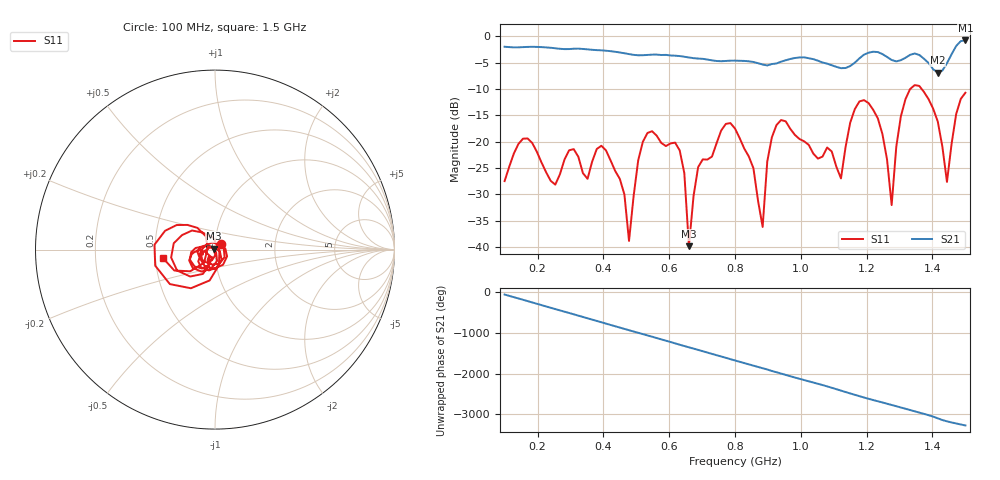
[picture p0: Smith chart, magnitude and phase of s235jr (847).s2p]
! NanoVNA-App
! Date: 2025-09-25 15:10:46
! Start: 100MHz Stop: 1,5GHz Points: 101
! S-Parameter data: F S11 S21 S12 S22
# Hz S RI R 50
!  Frequency  S11_Real  S11_Imag  S21_Real  S21_Imag  S12_Real  S12_Imag  S22_Real  S22_Imag
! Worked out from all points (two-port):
!   101 points, 100 MHz to 1.5 GHz, reference 50 ohm
!   highest |S21| = -0.77 dB at 1.5 GHz (marker M1); lowest = -6.9 dB at 1.416 GHz (marker M2)
!   |S21| within 3 dB of the highest: start of sweep to 636.1 MHz; 1.186 GHz to 1.259 GHz (72.66 MHz wide, 5.94 % of centre) (the widest 2 of 4)
!   lowest |S11| = -39.8 dB at 660 MHz (marker M3), VSWR 1.02, Z = 49.2 + j0.592 ohm
!   |S11| at or under -10 dB: start of sweep to 1.332 GHz; 1.367 GHz to end of sweep
!   S12 and S22 are empty: the file has one direction only
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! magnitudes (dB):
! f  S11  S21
! 100 MHz  -27.5  -2.0
! 156 MHz  -19.4  -2.0
! 338 MHz  -26.0  -2.4
! 408 MHz  -21.6  -2.7
! 478 MHz  -38.8  -3.4
! 520 MHz  -20.0  -3.6
! 576 MHz  -20.2  -3.5
! 632 MHz  -21.6  -3.7
! 660 MHz  -39.8  -4.0
! 688 MHz  -24.8  -4.2
! 800 MHz  -17.5  -4.6
! 884 MHz  -36.2  -5.3
! 926 MHz  -16.8  -5.1
! 1.038 GHz  -22.3  -4.3
! 1.122 GHz  -27.0  -6.0
! 1.164 GHz  -13.8  -5.0
! 1.206 GHz  -12.7  -3.1
! 1.276 GHz  -32.0  -4.5
! 1.332 GHz  -10.0  -3.5
! 1.416 GHz  -16.1  -6.9
! 1.444 GHz  -27.6  -5.1
! 1.5 GHz  -10.7  -0.8
